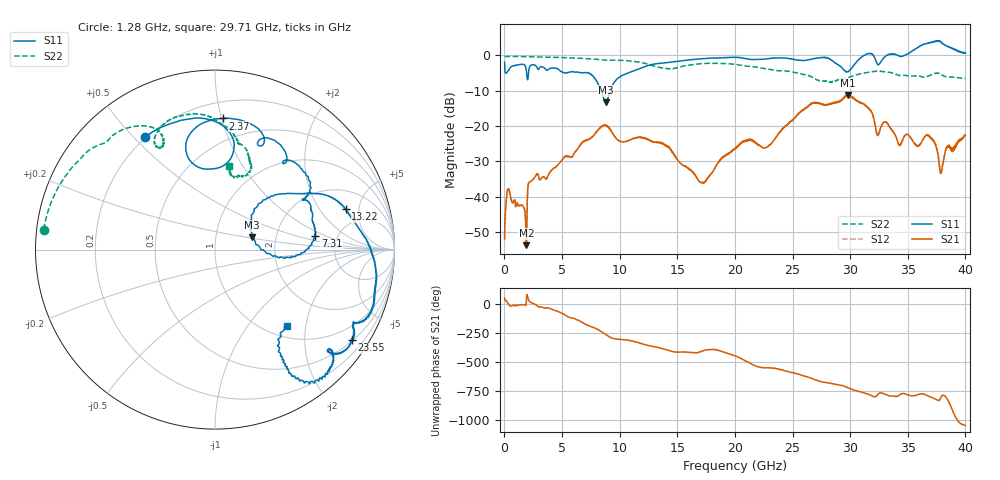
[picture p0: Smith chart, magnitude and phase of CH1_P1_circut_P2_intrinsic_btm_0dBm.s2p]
!Keysight Technologies,N5222B,MY61257109,A.17.25.03
!Date: Wednesday, July 22, 2026 17:29:22
!Correction: S11(C  2-Port  )
!S21(C  2-Port  )
!S12(C  2-Port  )
!S22(C  2-Port  )
!S2P File: Measurements: S11, S21, S12, S22:
# Hz S  dB  R 50
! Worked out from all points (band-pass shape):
!   4000 points, 10 MHz to 40 GHz, reference 50 ohm
!   highest |S21| = -11.25 dB at 29.79 GHz (marker M1); lowest = -53.8 dB at 1.9 GHz (marker M2)
!   |S21| within 3 dB of the highest: 26.4 GHz to 31.32 GHz (4.915 GHz wide, 17 % of centre); 31.35204 GHz to 31.3747 GHz (22.67 MHz wide, 0.0723 % of centre)
!   lowest |S11| = -13.3 dB at 8.78 GHz (marker M3), VSWR 1.55, Z = 75 + j10.8 ohm
!   |S11| at or under -10 dB: 8.372 GHz to 9.194 GHz (822.7 MHz wide, 9.37 % of centre)
!   |S22| runs from -7.7 to -0.3 dB; largest |S21 - S12| = 0.0052
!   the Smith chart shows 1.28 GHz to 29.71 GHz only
!   S11 on the Smith chart (normalised r, x): 1.28 GHz: 0.20, +0.54; 2.37 GHz: 0.32, +1.01; 7.31 GHz: 3.41, +0.74; 13.22 GHz: 3.33, +3.61; 23.55 GHz: 0.53, -3.25; 29.71 GHz: 1.22, -1.57
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1e7  -1.98 -53.1  -52.01 56.1  -51.12 53.3  -0.34 180.0
3.2e8  -4.41 -180.0  -37.88 6.1  -37.88 5.7  -0.33 178.3
1.28e9  -2.63 121.9  -42.59 -3.5  -42.59 -3.6  -0.35 173.3
1.9e9  -4.49 79.7  -53.82 32.0  -54.06 50.1  -0.37 170.0
2.37e9  -2.71 86.6  -35.49 13.1  -35.48 13.1  -0.40 167.6
6.68e9  -4.95 17.0  -24.81 -150.8  -24.90 -151.7  -0.87 145.8
7.31e9  -4.98 7.5  -23.72 176.1  -23.78 175.8  -0.95 142.5
8.78e9  -13.27 18.3  -19.73 100.3  -19.86 99.8  -1.37 135.9
1.322e10  -2.36 17.3  -24.59 -9.5  -24.64 -9.9  -3.27 114.9
1.334e10  -2.33 16.4  -24.70 -12.6  -24.57 -11.9  -3.39 114.9
1.713e10  -0.98 -5.1  -36.02 -45.3  -36.12 -45.9  -2.36 110.9
2.001e10  -0.60 -21.5  -26.53 -86.7  -26.52 -85.7  -2.60 92.5
2.355e10  -0.78 -33.5  -23.29 164.8  -23.24 166.2  -4.30 77.7
2.667e10  -1.11 -41.9  -13.70 78.4  -13.72 78.2  -6.14 66.3
2.971e10  -4.68 -46.7  -11.49 2.9  -11.57 2.8  -6.49 80.8
2.979e10  -4.71 -43.7  -11.25 -0.7  -11.31 -0.8  -6.41 81.5
3.102e10  -0.44 -36.6  -13.63 -40.1  -13.54 -40.5  -5.12 77.1
3.226e10  -1.82 -60.7  -21.59 -75.3  -21.58 -75.3  -4.49 68.6
3.334e10  0.20 -47.4  -19.88 -69.9  -19.85 -70.2  -4.80 60.3
3.61e10  2.66 -56.3  -25.03 -56.4  -25.05 -56.1  -6.02 54.3
3.76e10  4.04 -81.9  -27.85 -109.5  -27.73 -110.2  -5.03 49.4
4e10  0.56 -103.1  -22.58 31.5  -22.57 31.3  -6.60 45.1
